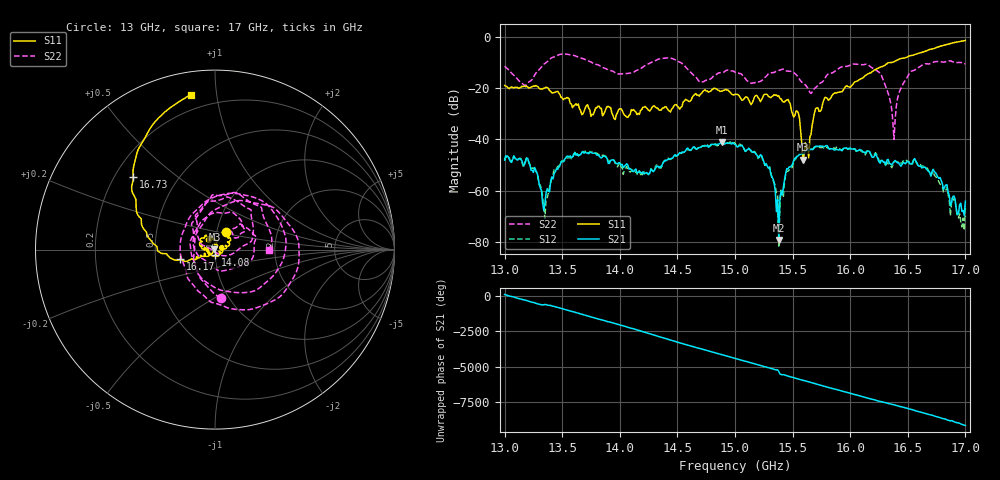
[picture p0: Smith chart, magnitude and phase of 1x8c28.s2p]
!Keysight Technologies,P9374A,MY57211807,A.19.30.04
!Date: Friday, May 08, 2026 15:10:04
!Correction: S11(C  2-Port  )
!S21(C  2-Port  )
!S12(C  2-Port  )
!S22(C  2-Port  )
!S2P File: Measurements: S11, S21, S12, S22:
# Hz S  dB  R 50
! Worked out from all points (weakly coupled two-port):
!   401 points, 13 GHz to 17 GHz, reference 50 ohm
!   highest |S21| = -41.05 dB at 14.89 GHz (marker M1); lowest = -79.4 dB at 15.38 GHz (marker M2)
!   lowest |S11| = -47.9 dB at 15.59 GHz (marker M3), VSWR 1.01, Z = 49.7 + j0.247 ohm
!   |S11| at or under -10 dB: start of sweep to 16.33 GHz
!   |S22| runs from -40.0 to -6.5 dB; largest |S21 - S12| = 0.0009
!   S11 on the Smith chart (normalised r, x): 13 GHz: 1.11, +0.22; 14.08 GHz: 1.00, -0.06; 16.17 GHz: 0.67, -0.07; 16.73 GHz: 0.27, +0.36; 17 GHz: 0.12, +0.85
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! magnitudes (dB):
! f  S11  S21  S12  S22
! 13 GHz  -18.9  -48.0  -48.1  -11.3
! 13.2 GHz  -19.5  -47.4  -47.7  -18.0
! 13.35 GHz  -19.8  -65.0  -71.0  -10.2
! 13.45 GHz  -21.2  -51.5  -51.4  -7.2
! 13.67 GHz  -30.3  -45.1  -45.2  -8.1
! 14.08 GHz  -30.5  -51.6  -52.5  -14.0
! 14.34 GHz  -28.5  -51.0  -51.1  -8.5
! 14.89 GHz  -21.0  -41.0  -41.3  -13.7
! 15 GHz  -22.2  -42.0  -41.5  -13.6
! 15.24 GHz  -23.6  -47.4  -48.0  -16.6
! 15.38 GHz  -22.8  -79.4  -81.8  -13.0
! 15.45 GHz  -24.6  -51.4  -52.3  -13.2
! 15.54 GHz  -28.9  -46.6  -46.1  -15.1
! 15.59 GHz  -47.9  -45.5  -44.6  -17.8
! 15.67 GHz  -34.3  -44.0  -43.6  -21.4
! 15.78 GHz  -23.5  -42.7  -43.0  -16.0
! 16.17 GHz  -13.9  -44.8  -45.0  -11.2
! 16.34 GHz  -9.9  -49.3  -49.7  -23.3
! 16.38 GHz  -9.5  -48.8  -48.8  -40.0
! 16.51 GHz  -7.3  -49.0  -48.8  -14.4
! 16.73 GHz  -4.3  -52.6  -54.0  -9.6
! 17 GHz  -1.2  -64.2  -66.9  -10.5
